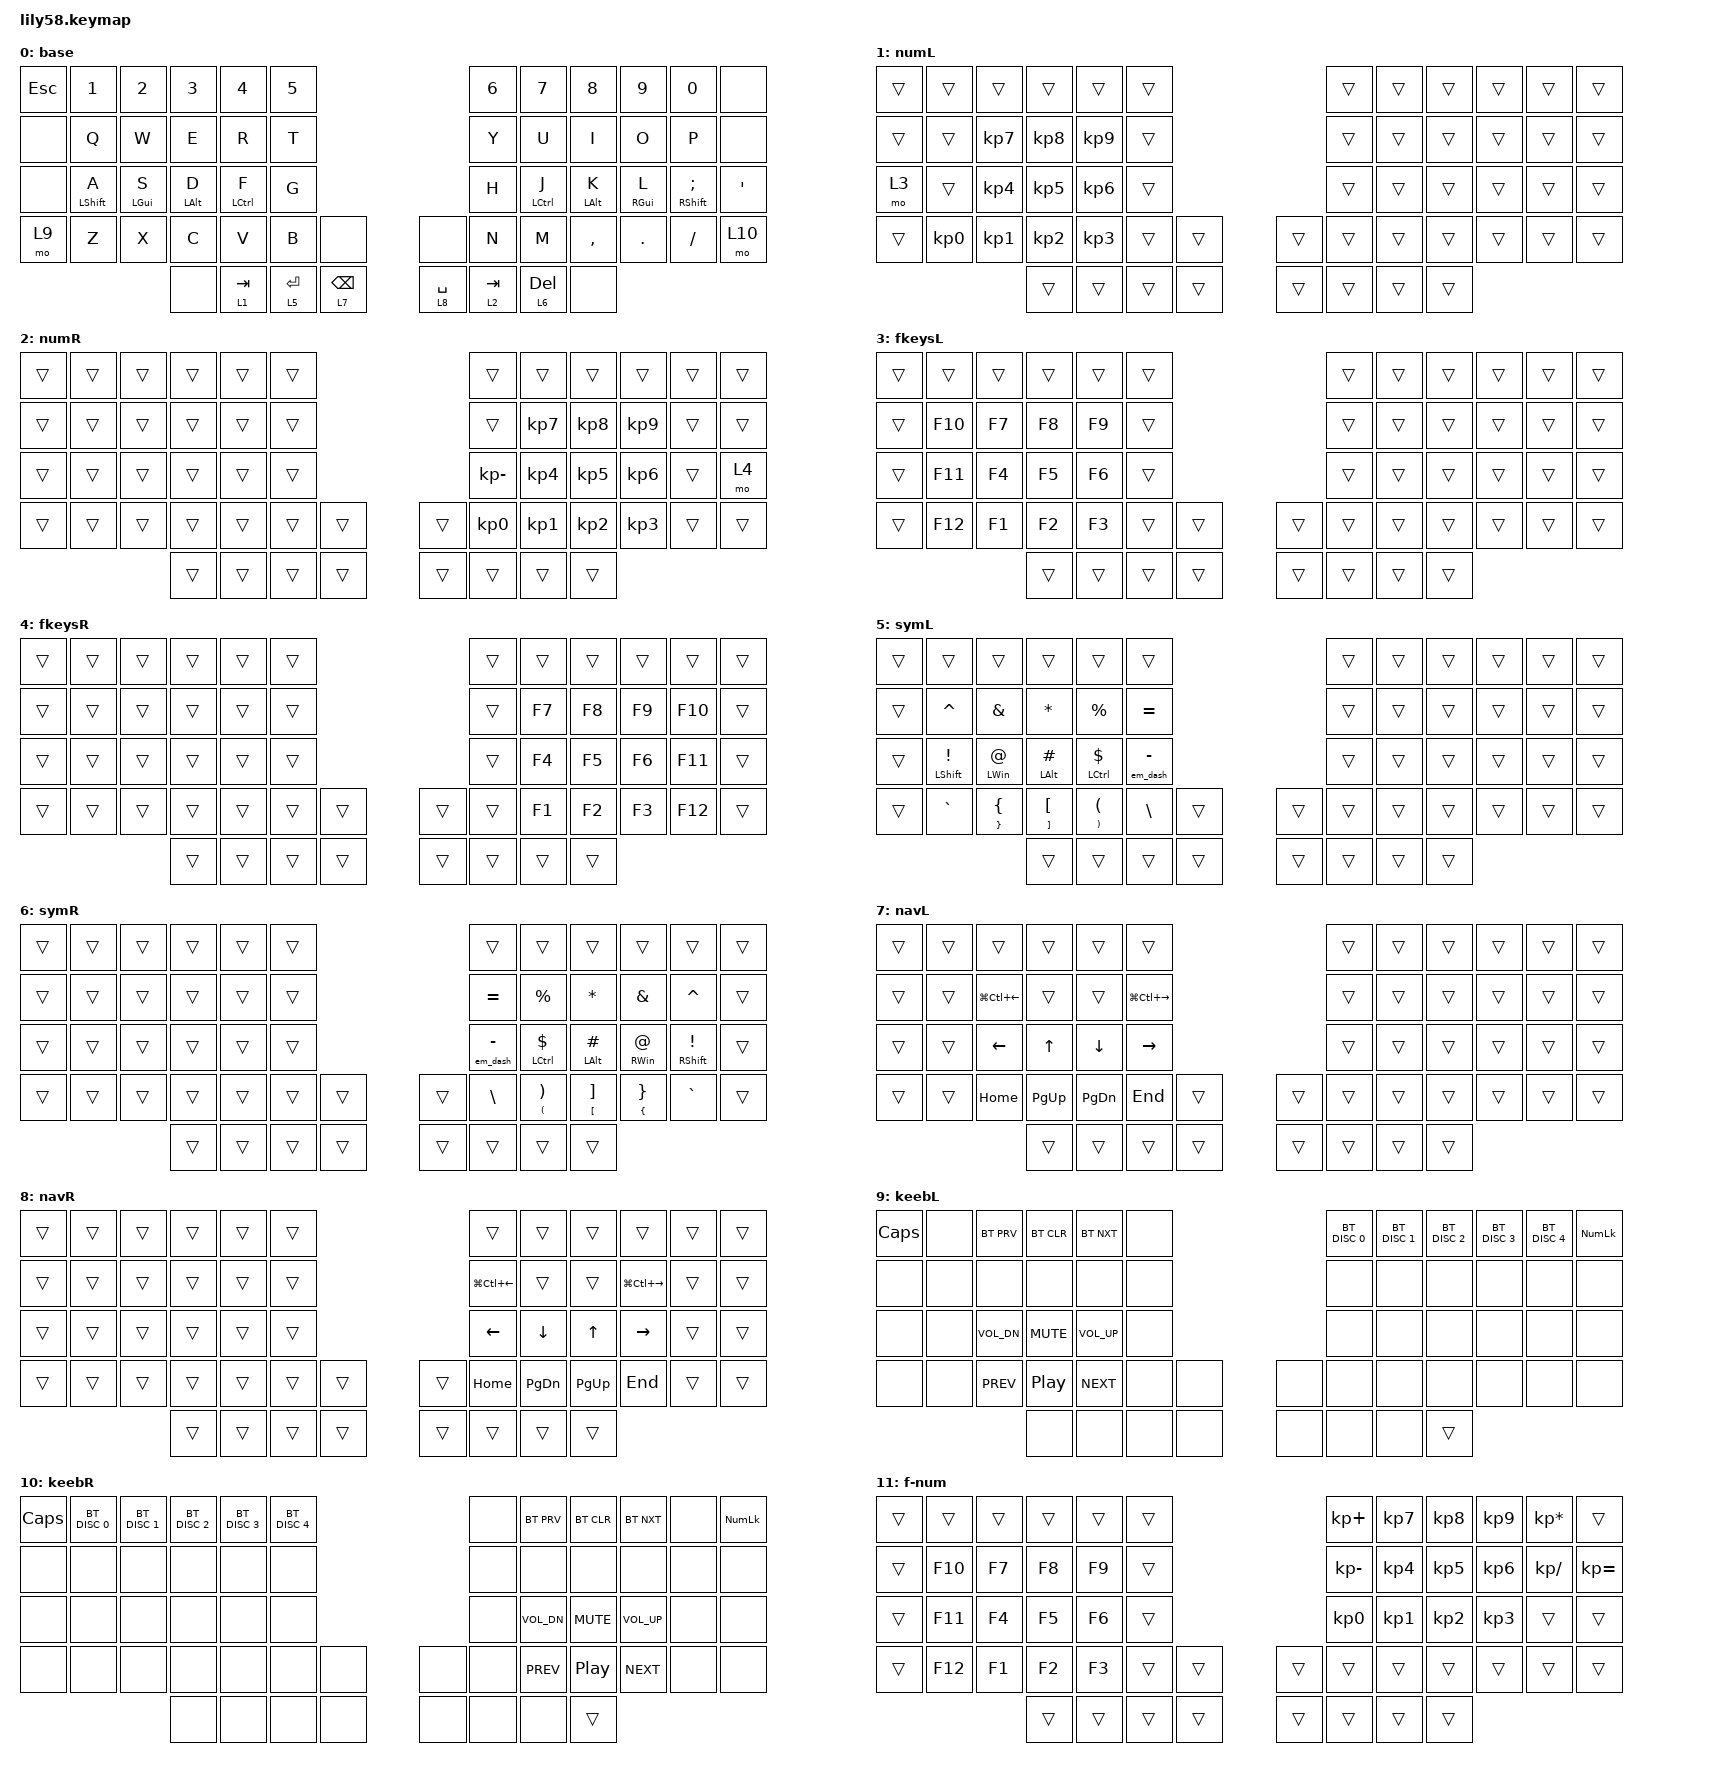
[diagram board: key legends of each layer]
/*
 * Copyright (c) 2024 The ZMK Contributors
 *
 * SPDX-License-Identifier: MIT
 */

#include <behaviors.dtsi>
#include <dt-bindings/zmk/bt.h>
#include <dt-bindings/zmk/keys.h>

/ {
    behaviors {
        hm_shift: hm_shift {
            compatible = "zmk,behavior-hold-tap";
            #binding-cells = <2>;
            tapping-term-ms = <300>;
            quick-tap-ms = <0>;
            flavor = "tap-preferred";
            bindings = <&kp>, <&kp>;
        };

        hm_shift_r: hm_shift_r {
            compatible = "zmk,behavior-hold-tap";
            #binding-cells = <2>;
            tapping-term-ms = <300>;
            quick-tap-ms = <0>;
            flavor = "hold-preferred";
            bindings = <&kp>, <&kp>;
        };

        hm_slow: hm_slow {
            compatible = "zmk,behavior-hold-tap";
            #binding-cells = <2>;
            tapping-term-ms = <500>;
            quick-tap-ms = <0>;
            flavor = "balanced";
            bindings = <&kp>, <&kp>;
        };

        hm_fast: hm_fast {
            compatible = "zmk,behavior-hold-tap";
            #binding-cells = <2>;
            tapping-term-ms = <200>;
            quick-tap-ms = <0>;
            flavor = "balanced";
            bindings = <&kp>, <&kp>;
        };

        hm_gui: hm_gui {
            compatible = "zmk,behavior-hold-tap";
            #binding-cells = <2>;
            tapping-term-ms = <250>;
            quick-tap-ms = <0>;
            flavor = "tap-preferred";
            bindings = <&kp>, <&kp>;
        };

        WinShiftDance: WinShiftDance {
            compatible = "zmk,behavior-tap-dance";
            label = "WINSHIFTDANCE";
            #binding-cells = <0>;
            bindings = <&mt LEFT_SHIFT LWIN>, <&kp LWIN>;
        };

        LayerModTap: LayerModTap {
            compatible = "zmk,behavior-hold-tap";
            label = "LAYERMODTAP";
            bindings = <&mo>, <&tog>;

            #binding-cells = <2>;
            tapping-term-ms = <200>;
        };

        dash_dance: dash_dance {
            compatible = "zmk,behavior-hold-tap";
            label = "DASH_DANCE";
            #binding-cells = <2>;
            tapping-term-ms = <200>;
            quick-tap-ms = <0>;
            bindings = <&em_dash>, <&kp>;
        };

        dance: dance {
            compatible = "zmk,behavior-hold-tap";
            label = "DANCE";
            #binding-cells = <2>;
            tapping-term-ms = <200>;
            quick-tap-ms = <0>;
            bindings = <&kp>, <&kp>;

            flavor = "balanced";
        };
    };

    macros {
        em_dash: em_dash {
            compatible = "zmk,behavior-macro";
            #binding-cells = <0>;
            wait-ms = <30>;
            tap-ms = <40>;
            bindings =
                <&macro_press>,
                <&kp LALT>,
                <&macro_tap>,
                <&kp KP_N0>,
                <&macro_tap>,
                <&kp KP_N1>,
                <&macro_tap>,
                <&kp KP_N5>,
                <&macro_tap>,
                <&kp KP_N1>,
                <&macro_release>,
                <&kp LALT>;

            label = "EM_DASH";
        };
    };

    combos {
        compatible = "zmk,combos";

        stickLctrl {
            bindings = <&sk LCTRL>;
            key-positions = <24 28>;
        };

        stickLctrlAlt {
            bindings = <&sk LA(LCTRL)>;
            key-positions = <24 28 27>;
        };

        r_mo_fkeys {
            bindings = <&mo 2>;
            key-positions = <54 35>;
        };
    };

    keymap {
        compatible = "zmk,keymap";

        base {
            label = "base";
            bindings = <
&kp ESC  &kp N1        &kp N2      &kp N3      &kp N4       &kp N5                                       &kp N6     &kp N7       &kp N8      &kp N9      &kp N0           &none
&none    &kp Q         &kp W       &kp E       &kp R        &kp T                                        &kp Y      &kp U        &kp I       &kp O       &kp P            &none
&none    &hm_shift LSHIFT A  &hm_slow LGUI S  &hm_slow LALT D  &hm_fast LCTRL F  &kp G                                        &kp H      &hm_slow LCTRL J  &hm_slow LALT K  &hm_gui RGUI L  &hm_shift_r RSHIFT SEMI  &kp APOSTROPHE
&mo 9    &kp Z         &kp X       &kp C       &kp V        &kp B        &none              &none        &kp N      &kp M        &kp COMMA   &kp DOT     &kp FSLH         &mo 10
                                   &none       &lt 1 TAB    &lt 5 ENTER  &lt 7 BACKSPACE    &lt 8 SPACE  &lt 2 TAB  &lt 6 DEL    &none
            >;
        };

        NumLeft {
            label = "numL";
            bindings = <
&trans  &trans     &trans     &trans     &trans     &trans                    &trans  &trans  &trans  &trans  &trans  &trans
&trans  &trans     &kp KP_N7  &kp KP_N8  &kp KP_N9  &trans                    &trans  &trans  &trans  &trans  &trans  &trans
&mo 3   &trans     &kp KP_N4  &kp KP_N5  &kp KP_N6  &trans                    &trans  &trans  &trans  &trans  &trans  &trans
&trans  &kp KP_N0  &kp KP_N1  &kp KP_N2  &kp KP_N3  &trans  &trans    &trans  &trans  &trans  &trans  &trans  &trans  &trans
                              &trans     &trans     &trans  &trans    &trans  &trans  &trans  &trans
            >;
        };

        NumRight {
            label = "numR";
            bindings = <
&trans  &trans  &trans  &trans  &trans  &trans                    &trans        &trans     &trans     &trans     &trans  &trans
&trans  &trans  &trans  &trans  &trans  &trans                    &trans        &kp KP_N7  &kp KP_N8  &kp KP_N9  &trans  &trans
&trans  &trans  &trans  &trans  &trans  &trans                    &kp KP_MINUS  &kp KP_N4  &kp KP_N5  &kp KP_N6  &trans  &mo 4
&trans  &trans  &trans  &trans  &trans  &trans  &trans    &trans  &kp KP_N0     &kp KP_N1  &kp KP_N2  &kp KP_N3  &trans  &trans
                        &trans  &trans  &trans  &trans    &trans  &trans        &trans     &trans
            >;
        };

        FkeysLeft {
            label = "fkeysL";
            bindings = <
&trans  &trans   &trans  &trans  &trans  &trans                    &trans  &trans  &trans  &trans  &trans  &trans
&trans  &kp F10  &kp F7  &kp F8  &kp F9  &trans                    &trans  &trans  &trans  &trans  &trans  &trans
&trans  &kp F11  &kp F4  &kp F5  &kp F6  &trans                    &trans  &trans  &trans  &trans  &trans  &trans
&trans  &kp F12  &kp F1  &kp F2  &kp F3  &trans  &trans    &trans  &trans  &trans  &trans  &trans  &trans  &trans
                         &trans  &trans  &trans  &trans    &trans  &trans  &trans  &trans
            >;
        };

        FkeysRight {
            label = "fkeysR";
            bindings = <
&trans  &trans  &trans  &trans  &trans  &trans                    &trans  &trans  &trans  &trans  &trans   &trans
&trans  &trans  &trans  &trans  &trans  &trans                    &trans  &kp F7  &kp F8  &kp F9  &kp F10  &trans
&trans  &trans  &trans  &trans  &trans  &trans                    &trans  &kp F4  &kp F5  &kp F6  &kp F11  &trans
&trans  &trans  &trans  &trans  &trans  &trans  &trans    &trans  &trans  &kp F1  &kp F2  &kp F3  &kp F12  &trans
                        &trans  &trans  &trans  &trans    &trans  &trans  &trans  &trans
            >;
        };

        symbolsLeft {
            label = "symL";
            bindings = <
&trans  &trans                  &trans                         &trans                             &trans                                     &trans                                 &trans  &trans  &trans  &trans  &trans  &trans
&trans  &kp CARET               &kp AMPERSAND                  &kp ASTERISK                       &kp PERCENT                                &kp EQUAL                              &trans  &trans  &trans  &trans  &trans  &trans
&trans  &hm_shift LSHIFT EXCLAMATION  &hm_slow LWIN AT_SIGN               &hm_slow LALT HASH                      &hm_fast LCTRL DOLLAR                           &dash_dance 0 MINUS                    &trans  &trans  &trans  &trans  &trans  &trans
&trans  &kp GRAVE               &dance RIGHT_BRACE LEFT_BRACE  &dance RIGHT_BRACKET LEFT_BRACKET  &dance RIGHT_PARENTHESIS LEFT_PARENTHESIS  &kp BACKSLASH        &trans    &trans  &trans  &trans  &trans  &trans  &trans  &trans
                                                               &trans                             &trans                                     &trans               &trans    &trans  &trans  &trans  &trans
            >;
        };

        symbolsRight {
            label = "symR";
            bindings = <
&trans  &trans  &trans  &trans  &trans  &trans                    &trans               &trans                                     &trans                             &trans                         &trans                  &trans
&trans  &trans  &trans  &trans  &trans  &trans                    &kp EQUAL            &kp PERCENT                                &kp ASTERISK                       &kp AMPERSAND                  &kp CARET               &trans
&trans  &trans  &trans  &trans  &trans  &trans                    &dash_dance 0 MINUS  &hm_slow LCTRL DOLLAR                           &hm_slow LALT HASH                      &hm_gui RWIN AT_SIGN               &hm_shift_r RSHIFT EXCLAMATION  &trans
&trans  &trans  &trans  &trans  &trans  &trans  &trans    &trans  &kp BACKSLASH        &dance LEFT_PARENTHESIS RIGHT_PARENTHESIS  &dance LEFT_BRACKET RIGHT_BRACKET  &dance LEFT_BRACE RIGHT_BRACE  &kp GRAVE               &trans
                        &trans  &trans  &trans  &trans    &trans  &trans               &trans                                     &trans
            >;
        };

        NavLeft {
            label = "navL";
            bindings = <
&trans  &trans  &trans            &trans        &trans          &trans                               &trans  &trans  &trans  &trans  &trans  &trans
&trans  &trans  &kp LG(LC(LEFT))  &trans        &trans          &kp LG(LC(RIGHT))                    &trans  &trans  &trans  &trans  &trans  &trans
&trans  &trans  &kp LEFT          &kp UP_ARROW  &kp DOWN_ARROW  &kp RIGHT                            &trans  &trans  &trans  &trans  &trans  &trans
&trans  &trans  &kp HOME          &kp PG_UP     &kp PG_DN       &kp END            &trans    &trans  &trans  &trans  &trans  &trans  &trans  &trans
                                  &trans        &trans          &trans             &trans    &trans  &trans  &trans  &trans
            >;
        };

        NavRight {
            label = "navR";
            bindings = <
&trans  &trans  &trans  &trans  &trans  &trans                    &trans            &trans     &trans     &trans             &trans  &trans
&trans  &trans  &trans  &trans  &trans  &trans                    &kp LG(LC(LEFT))  &trans     &trans     &kp LG(LC(RIGHT))  &trans  &trans
&trans  &trans  &trans  &trans  &trans  &trans                    &kp LEFT          &kp DOWN   &kp UP     &kp RIGHT          &trans  &trans
&trans  &trans  &trans  &trans  &trans  &trans  &trans    &trans  &kp HOME          &kp PG_DN  &kp PG_UP  &kp END            &trans  &trans
                        &trans  &trans  &trans  &trans    &trans  &trans            &trans     &trans
            >;
        };

        boardLeft {
            label = "keebL";
            bindings = <
&kp CAPS  &none  &bt BT_PRV  &bt BT_CLR &bt BT_NXT   &none                    &bt BT_DISC 0  &bt BT_DISC 1  &bt BT_DISC 2  &bt BT_DISC 3  &bt BT_DISC 4 &kp KP_NLCK
&none     &none          &none          &none          &none          &none                          &none        &none  &none   &none  &none &none 
&none     &none          &kp C_VOL_DN   &kp C_MUTE     &kp C_VOL_UP   &none                          &none        &none  &none   &none  &none &none 
&none     &none          &kp C_PREV     &kp C_PP       &kp C_NEXT     &none          &none    &none  &none        &none  &none   &none  &none &none 
                                        &none          &none          &none          &none    &none  &none        &none  &trans
            >;
        };

        boardRight {
            label = "keebR";
            bindings = <
&kp CAPS  &bt BT_DISC 0  &bt BT_DISC 1  &bt BT_DISC 2  &bt BT_DISC 3  &bt BT_DISC 4                  &none  &bt BT_PRV    &bt BT_CLR  &bt BT_NXT    &none   &kp KP_NLCK
&none     &none          &none          &none          &none          &none                          &none        &none         &none       &none         &none  &none
&none     &none          &none          &none          &none          &none                          &none        &kp C_VOL_DN  &kp C_MUTE  &kp C_VOL_UP  &none  &none
&none     &none          &none          &none          &none          &none          &none    &none  &none        &kp C_PREV    &kp C_PP    &kp C_NEXT    &none  &none
                                        &none          &none          &none          &none    &none  &none        &none         &trans
            >;
        };

        f-numbers {
            label = "f-num";
            bindings = <
&trans  &trans   &trans  &trans  &trans  &trans                    &kp KP_PLUS   &kp KP_N7  &kp KP_N8  &kp KP_N9  &kp KP_MULTIPLY  &trans
&trans  &kp F10  &kp F7  &kp F8  &kp F9  &trans                    &kp KP_MINUS  &kp KP_N4  &kp KP_N5  &kp KP_N6  &kp KP_DIVIDE    &kp KP_EQUAL
&trans  &kp F11  &kp F4  &kp F5  &kp F6  &trans                    &kp KP_N0     &kp KP_N1  &kp KP_N2  &kp KP_N3  &trans           &trans
&trans  &kp F12  &kp F1  &kp F2  &kp F3  &trans  &trans    &trans  &trans        &trans     &trans     &trans     &trans           &trans
                         &trans  &trans  &trans  &trans    &trans  &trans        &trans     &trans
            >;
        };
    };

    conditional_layers {
        compatible = "zmk,conditional-layers";

        keeb {
            if-layers = <5 2>;
            then-layer = <10>;
        };
    };
};
